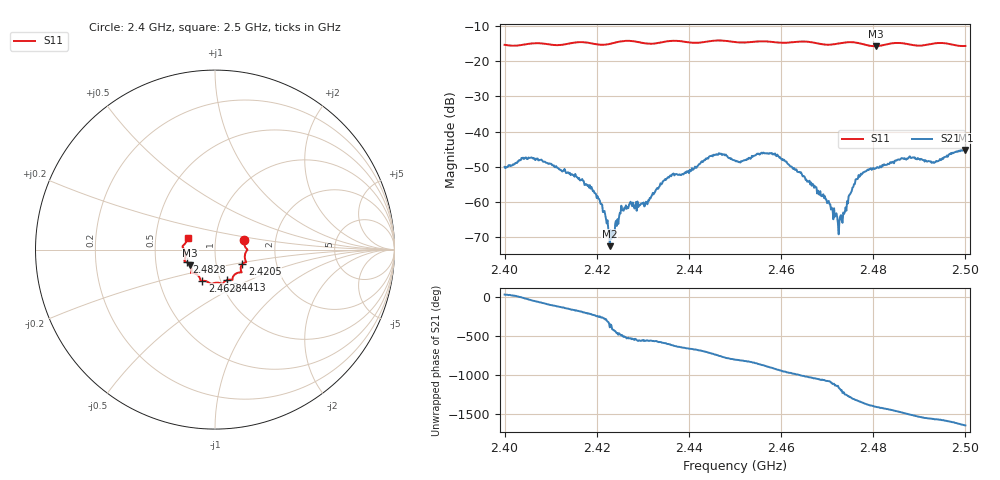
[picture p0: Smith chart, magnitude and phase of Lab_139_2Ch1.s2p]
# Hz S RI R 50
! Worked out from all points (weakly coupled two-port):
!   601 points, 2.4 GHz to 2.5 GHz, reference 50 ohm
!   highest |S21| = -45.18 dB at 2.5 GHz (marker M1); lowest = -72.5 dB at 2.4228 GHz (marker M2)
!   lowest |S11| = -15.7 dB at 2.4805 GHz (marker M3), VSWR 1.39, Z = 37.3 - j6.69 ohm
!   |S11| at or under -10 dB: start of sweep to end of sweep
!   S12 and S22 are empty: the file has one direction only
!   S11 on the Smith chart (normalised r, x): 2.4 GHz: 1.38, +0.15; 2.4205 GHz: 1.34, -0.22; 2.4413 GHz: 1.08, -0.38; 2.4628 GHz: 0.82, -0.29; 2.4828 GHz: 0.72, -0.10; 2.5 GHz: 0.73, +0.10
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2.4e9  0.1628 0.0523  0.00249 0.00194  0 0  0 0
2.405833e9  0.1788 0.0016  0.00346 -0.00256  0 0  0 0
2.416667e9  0.1734 -0.0697  -0.00207 4.82e-05  0 0  0 0
2.4205e9  0.1521 -0.0809  -0.000373 0.00104  0 0  0 0
2.422833e9  0.1432 -0.1033  0.000215 -9.96e-05  0 0  0 0
2.423333e9  0.1433 -0.1082  0.000252 -0.000265  0 0  0 0
2.425833e9  0.1477 -0.1252  -0.000641 -0.000399  0 0  0 0
2.430833e9  0.1198 -0.1324  -0.000971 0.000208  0 0  0 0
2.433333e9  0.1004 -0.1514  -0.00133 0.000792  0 0  0 0
2.441333e9  0.0674 -0.1697  0.00198 0.0025  0 0  0 0
2.4465e9  0.0412 -0.1929  0.00422 -0.00258  0 0  0 0
2.45e9  0.0247 -0.1857  0.000672 -0.00383  0 0  0 0
2.458167e9  -0.0319 -0.185  -0.0047 0.000741  0 0  0 0
2.462833e9  -0.0712 -0.1736  -0.000391 0.00302  0 0  0 0
2.466667e9  -0.0816 -0.1673  0.00119 0.00123  0 0  0 0
2.472833e9  -0.1251 -0.1303  -0.000108 -0.000617  0 0  0 0
2.476333e9  -0.1326 -0.127  -0.00103 0.00186  0 0  0 0
2.4805e9  -0.1383 -0.0872  0.00252 0.00166  0 0  0 0
2.482833e9  -0.1585 -0.0701  0.00337 0.000218  0 0  0 0
2.483333e9  -0.1623 -0.0684  0.00346 -7.56e-05  0 0  0 0
2.493167e9  -0.1783 0.0105  -0.0021 -0.00293  0 0  0 0
2.5e9  -0.1522 0.0639  -0.00488 0.00256  0 0  0 0
